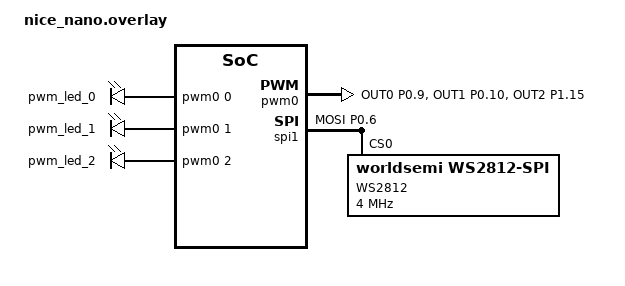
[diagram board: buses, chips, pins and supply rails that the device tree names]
#include <dt-bindings/led/led.h>

&pinctrl {
	spi1_default: spi1_default {
		group1 {
			psels = <NRF_PSEL(SPIM_MOSI, 0, 6)>;
		};
	};

	spi1_sleep: spi1_sleep {
		group1 {
			psels = <NRF_PSEL(SPIM_MOSI, 0, 6)>;
			low-power-enable;
		};
	};

	pwm0_default: pwm0_default {
        group1 {
            psels = <NRF_PSEL(PWM_OUT0, 0, 9)>,
					<NRF_PSEL(PWM_OUT1, 0, 10)>,
					<NRF_PSEL(PWM_OUT2, 1, 15)>;
        };
    };

    pwm0_sleep: pwm0_sleep {
        group1 {
            psels = <NRF_PSEL(PWM_OUT0, 0, 9)>,
					<NRF_PSEL(PWM_OUT1, 0, 10)>,
					<NRF_PSEL(PWM_OUT2, 1, 15)>;
            low-power-enable;
        };
    };
};

/ {
    lcd_backlight: pwmleds {
        compatible = "pwm-leds";
        label = "Backlight LEDs";
        pwm_led_0: pwm_led_0 {
            pwms = <&pwm0 0 PWM_MSEC(10) PWM_POLARITY_NORMAL>;
        };
        pwm_led_1: pwm_led_1 {
            pwms = <&pwm0 1 PWM_MSEC(10) PWM_POLARITY_NORMAL>;
        };
        pwm_led_2: pwm_led_2 {
            pwms = <&pwm0 2 PWM_MSEC(10) PWM_POLARITY_NORMAL>;
        };
    };
};

/* Enable the PWM hardware */
&pwm0 {
    status = "okay";
    pinctrl-0 = <&pwm0_default>;
    pinctrl-1 = <&pwm0_sleep>;
    pinctrl-names = "default", "sleep";
};

&spi1 {
	compatible = "nordic,nrf-spim";
	status = "okay";

	pinctrl-0 = <&spi1_default>;
	pinctrl-1 = <&spi1_sleep>;
	pinctrl-names = "default", "sleep";

	led_strip: ws2812@0 {
		compatible = "worldsemi,ws2812-spi";
		label = "WS2812";

		/* SPI */
		reg = <0>; /* ignored, but necessary for SPI bindings */
		spi-max-frequency = <4000000>;

		/* WS2812 */
		chain-length = <10>; /* arbitrary; change at will */
		spi-one-frame = <0x70>;
		spi-zero-frame = <0x40>;

		color-mapping = <LED_COLOR_ID_GREEN LED_COLOR_ID_RED LED_COLOR_ID_BLUE>;
	};
};

/ {
	chosen {
		zmk,underglow = &led_strip;
        zmk,backlight = &lcd_backlight;
	};
};




